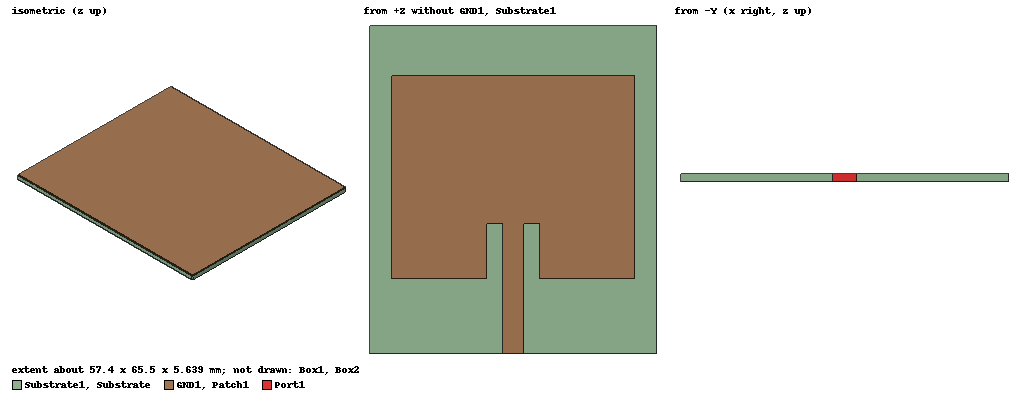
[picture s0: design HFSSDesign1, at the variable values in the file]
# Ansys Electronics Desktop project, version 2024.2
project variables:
  $f = 2.45GHz
  $epsilon_r = 2.2
  $h = 1.5mm
  $Wp = 48.4mm
  $Lp = 40.5mm
  $Wg = $Wp + 6*$h
  $Lg = $Lp + $Lf + $z
  $Wf = 4.1mm
  $g = 3.321mm
  $d = 10.92mm
  $Lf = 15mm
  $z = 10mm
  $DTheta = 0deg  # optimise -1deg..1deg
  $Dist = 1000mm
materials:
  vacuum: permittivity=1
  Rogers RO3003 (tm): permittivity=3 dielectric_loss_tangent=0.0013
  Rogers RT/duroid 5880 (tm): permittivity=2.2 dielectric_loss_tangent=0.0009
  air: permittivity=1.0006 permeability=1.0000004

design HFSSDesign1 (HFSS, HFSS Terminal Network, model units mm)
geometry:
  GND = rectangle(corner=(-$Wg/2, -$Lg/2, 0mm), x_size=$Wg, y_size=$Lg)
  Substrate [Rogers RT/duroid 5880 (tm)] = box(corner=(-$Wg/2, -$Lg/2, 0mm), size=($Wg, $Lg, $h))
  Patch = rectangle(corner=(-$Wp/2, -$Lg/2 +$Lf, $h), x_size=$Wp, y_size=$Lp)
  Left_notch = rectangle(corner=(-$g-$Wf/2, -$Lg/2 + $Lf, $h), x_size=$g, y_size=$d)
  Right_notch = rectangle(corner=($Wf/2, -$Lg/2+$Lf, $h), x_size=$g, y_size=$d)
  Feed = rectangle(corner=(-$Wf/2, -$Lg/2, $h), x_size=$Wf, y_size=$d + $Lf)
  Patch.subtract(Left_notch)
  Patch.subtract(Right_notch)
  Port = rectangle(corner=(-$Wf/2, -$Lg/2, 0mm), z_size=$h, x_size=$Wf)
  Patch.unite(Feed)
  Box1 [air] = box(corner=(-150mm, -150mm, -150mm), size=(300mm, 300mm, 300mm))
  GND1 = rectangle(corner=(-$Wg/2, -$Lg/2, 0mm), x_size=$Wg, y_size=$Lg)
  Substrate1 [Rogers RT/duroid 5880 (tm)] = box(corner=(-$Wg/2, -$Lg/2, 0mm), size=($Wg, $Lg, $h))
  Patch1 = rectangle(corner=(-$Wp/2, -$Lg/2 +$Lf, $h), x_size=$Wp, y_size=$Lp)
  Left_notch1 = rectangle(corner=(-$g-$Wf/2, -$Lg/2 + $Lf, $h), x_size=$g, y_size=$d)
  Patch1.subtract(Left_notch1)
  Right_notch1 = rectangle(corner=($Wf/2, -$Lg/2+$Lf, $h), x_size=$g, y_size=$d)
  Patch1.subtract(Right_notch1)
  Feed1 = rectangle(corner=(-$Wf/2, -$Lg/2, $h), x_size=$Wf, y_size=$d + $Lf)
  Patch1.unite(Feed1)
  Port1 = rectangle(corner=(-$Wf/2, -$Lg/2, 0mm), z_size=$h, x_size=$Wf)
  Box2 [air] = box(corner=(-150mm, -150mm, -150mm), size=(300mm, 300mm, 300mm))
  GND1.move(0mm, 0mm, $Dist+$h)
  Substrate1.move(0mm, 0mm, $Dist)
  Patch1.move(0mm, 0mm, $Dist -$h)
  [Port1, Box2].move(0mm, 0mm, $Dist)
  [GND1, Substrate1, Patch1, Port1].rotate(axis=Z, angle=$DTheta)
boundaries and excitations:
  PerfE1: Perfect E Objects=Patch
  PerfE2: Perfect E Objects=GND
  Rad1: Radiation Objects=Box1
  PerfE3: Perfect E Objects=Patch1
  PerfE4: Perfect E Objects=GND1
  Rad2: Radiation Objects=Box2
  FE-BI1: FE-BI Objects=Box1 UseAdaptiveIE
  FE-BI2: FE-BI Objects=Box2 UseAdaptiveIE
  1: Lumped Port Objects=Port LumpedPortType=Modal Modes{Mode1{IntLine{(0, -32.75, 0) -> (0, -32.75, 1.5)} CharImp=Zpi RenormImp=50ohm}} Impedance=50ohm
  2: Lumped Port Objects=Port1 LumpedPortType=Modal Modes{Mode1{IntLine{(0, -32.75, 1000) -> (0, -32.75, 1001.5)} CharImp=Zpi RenormImp=50ohm}} Impedance=50ohm
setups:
  Setup1: HfssDriven Frequency=2.45GHz MaxDeltaS=0.02 MaximumPasses=2 MinimumPasses=1 MinimumConvergedPasses=1 PercentRefinement=2 BasisOrder=1 PortAccuracy=2 DrivenSolverType="Domain Decomposition" IterativeResidual=1e-06 DDMSolverResidual=0.0001
    sweep Sweep: 2.45GHz to 3GHz, 2 points; Type=Interpolating InterpTolerance=0.5 InterpMaxSolns=250 PassivityErrorTolerance=0.0001
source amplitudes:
  1:1: 1V 0deg
  2:1: 0V 0deg
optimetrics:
  ParametricSetup1: Parametric disabled
    sweep $g: LIN 0.1mm 4.1mm 0.1mm
  ParametricSetup2: Parametric disabled
    sweep $DTheta: LIN 0deg 90deg 15deg
  ParametricSetup3: Parametric Sim._Setups=[Setup1]
    sweep $Dist: LIN 800mm 1800mm 100mm
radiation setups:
  Infinite Sphere1: Infinite Sphere Theta=0deg..180deg step 2deg Phi=-180deg..180deg step 2deg
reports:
  Terminal S Parameter Plot 1: dB(St(2,1)) vs Freq on Setup1 : Sweep [$Dist=all]
  Terminal S Parameter Plot 2: dB(St(2,1)) vs $Dist on Setup1 : Sweep [Freq=all]
  Terminal S Parameter Plot 3: dB10normalize(St(2,1)) vs $Dist on Setup1 : Sweep [Freq=all]
  Terminal S Parameter Plot 4: dB20normalize(St(2,1)) vs $Dist on Setup1 : Sweep [Freq=all]
  Terminal S Parameter Plot 5: mag(St(2,1)) vs $Dist on Setup1 : Sweep [Freq=all]
  Terminal S Parameter Plot 6: normalize(St(2,1)) vs $Dist on Setup1 : Sweep [Freq=all]
  Terminal S Parameter Plot 7: dB(St(1,2)) vs $Dist on Setup1 : Sweep [Freq=all]
  Terminal S Parameter Plot 8: dB(St(2,2)) vs $Dist on Setup1 : Sweep [Freq=all]
  Terminal S Parameter Plot 9: dB(St(1,1)) vs $Dist on Setup1 : Sweep [Freq=all]
  Terminal S Parameter Plot 10: dB(St(2,1)) vs $Dist on Setup1 : Sweep [Freq=all]
